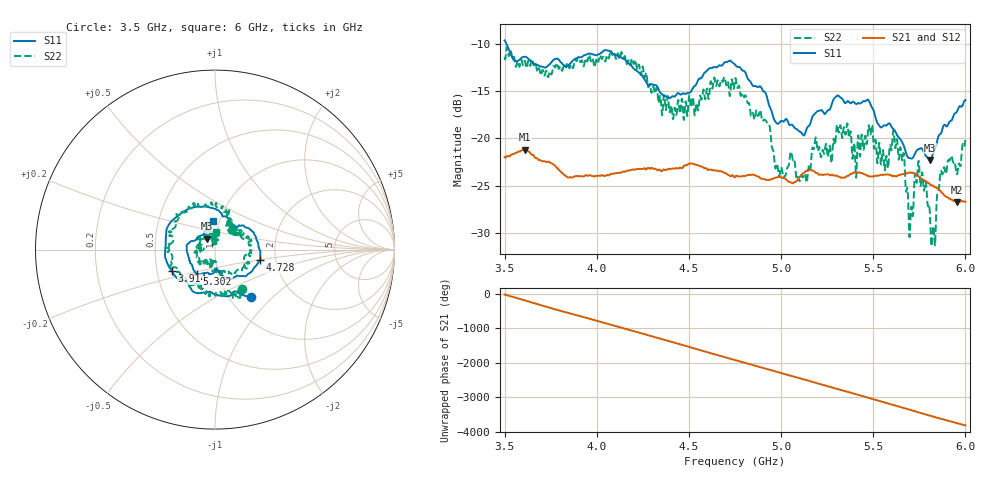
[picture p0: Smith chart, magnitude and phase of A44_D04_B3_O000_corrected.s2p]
! Created with skrf 1.9.0 (http://scikit-rf.org).
# Hz S RI R 50.0
!freq ReS11 ImS11 ReS21 ImS21 ReS12 ImS12 ReS22 ImS22
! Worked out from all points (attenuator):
!   1601 points, 3.5 GHz to 6 GHz, reference 50 ohm
!   highest |S21| = -21.19 dB at 3.609 GHz (marker M1); lowest = -26.7 dB at 5.956 GHz (marker M2)
!   lowest |S11| = -22.3 dB at 5.808 GHz (marker M3), VSWR 1.17, Z = 45.2 + j5.55 ohm
!   |S11| at or under -10 dB: 3.51 GHz to end of sweep
!   |S22| runs from -31.4 to -10.4 dB; largest |S21 - S12| = 0.00099
!   S11 on the Smith chart (normalised r, x): 3.5 GHz: 1.25, -0.74; 3.914 GHz: 0.60, -0.15; 4.728 GHz: 1.65, -0.21; 5.302 GHz: 0.79, -0.22; 6 GHz: 0.93, +0.31
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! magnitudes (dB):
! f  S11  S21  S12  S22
! 3.5 GHz  -9.6  -22.0  -21.9  -11.4
! 3.609 GHz  -11.4  -21.2  -21.2  -11.8
! 3.914 GHz  -11.4  -24.0  -23.9  -11.8
! 3.917 GHz  -11.4  -24.0  -23.9  -11.7
! 4.142 GHz  -11.6  -23.5  -23.5  -11.5
! 4.334 GHz  -14.8  -23.3  -23.2  -16.2
! 4.422 GHz  -15.6  -23.2  -23.1  -16.8
! 4.728 GHz  -11.8  -24.0  -23.9  -14.4
! 4.75 GHz  -12.2  -24.1  -24.0  -13.8
! 4.928 GHz  -16.0  -24.4  -24.3  -18.5
! 4.981 GHz  -18.4  -24.1  -24.1  -22.9
! 5.167 GHz  -17.9  -23.4  -23.3  -21.3
! 5.302 GHz  -15.5  -23.9  -23.9  -18.7
! 5.584 GHz  -18.4  -23.8  -23.8  -22.2
! 5.658 GHz  -20.4  -23.8  -23.7  -22.2
! 5.705 GHz  -22.1  -23.6  -23.6  -27.5
! 5.755 GHz  -21.1  -24.2  -24.1  -24.7
! 5.808 GHz  -22.3  -24.8  -24.8  -28.1
! 5.827 GHz  -21.5  -25.0  -25.0  -29.3
! 5.875 GHz  -19.0  -25.8  -25.7  -23.8
! 5.956 GHz  -17.1  -26.7  -26.6  -23.7
! 6 GHz  -16.0  -26.7  -26.6  -20.2
